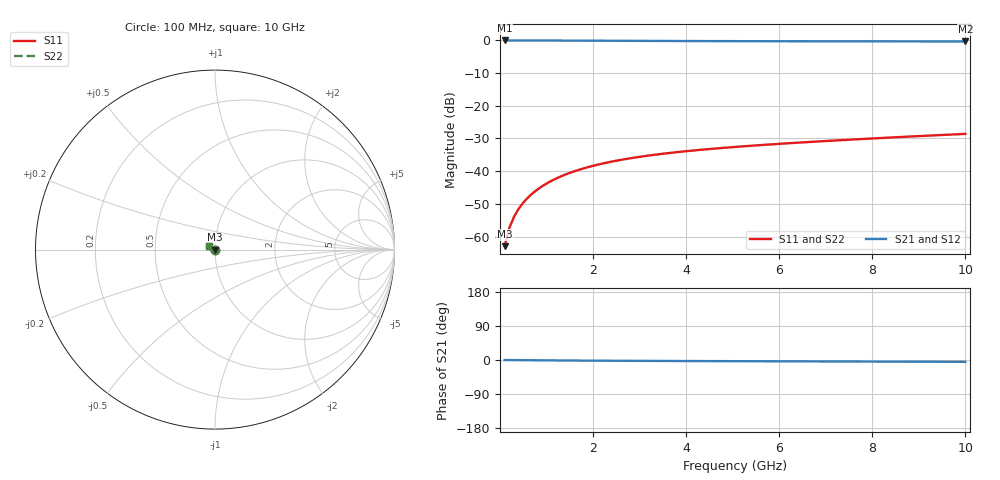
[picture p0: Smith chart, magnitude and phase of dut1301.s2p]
! Touchstone file exported from HFSS 2024.1.0
!  File:  C:/UserFiles/LocalFiles/RDL_TSV_Batchsim/temp_TSV1_1301_1780372500.aedt
!  Generated:  12:00:00 PM Jun  2, 2026
!  Design:  TSV1
!  Project:  temp_TSV1_1301_1780372500
!  Setup:  Setup1
!  Solution:  Sweep
! Variables:
!  dtsv = 7um
!  hbump = 3um
!  htsv = 69.81um
!  lrdl = 252.1521522um
!  p = 40
!  p1 = 55.15um
!  t = 500um
!  trdl = 3um
!  wrdl = 24.89489489um
# GHz S MA R 50.000000
! Terminal data exported
! Port[1] = TSV22_T1
! Port[2] = TSV22_T2
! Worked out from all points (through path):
!   100 points, 100 MHz to 10 GHz, reference 50 ohm
!   highest |S21| = 0.00 dB at 100 MHz (marker M1); lowest = -0.3 dB at 10 GHz (marker M2)
!   lowest |S11| = -62.9 dB at 100 MHz (marker M3), VSWR 1.00, Z = 50 - j0.067 ohm
!   |S11| at or under -10 dB: start of sweep to end of sweep
!   |S22| runs from -62.9 to -28.6 dB; largest |S21 - S12| = 6e-15
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0.1  0.0007125 -70.2  0.9997 -0.1  0.9997 -0.1  0.0007125 -70.2
! Gamma 0 0 0 0
! Port Impedance 50 0 50 0
0.2  0.001346 -83.2  0.9996 -0.2  0.9996 -0.2  0.001346 -83.2
0.3  0.001994 -89.4  0.9995 -0.3  0.9995 -0.3  0.001994 -89.4
0.4  0.002645 -93.6  0.9993 -0.4  0.9993 -0.4  0.002645 -93.6
0.5  0.003294 -97.1  0.999 -0.5  0.999 -0.5  0.003294 -97.1
0.6  0.00394 -100.2  0.9987 -0.6  0.9987 -0.6  0.00394 -100.2
0.7  0.004581 -103.0  0.9983 -0.7  0.9983 -0.7  0.004581 -103.0
0.8  0.005216 -105.7  0.998 -0.8  0.998 -0.8  0.005216 -105.7
0.9  0.005844 -108.2  0.9975 -0.9  0.9975 -0.9  0.005844 -108.2
1.1  0.007074 -113.1  0.9965 -1.0  0.9965 -1.0  0.007074 -113.1
1.4  0.008846 -119.9  0.9949 -1.3  0.9949 -1.3  0.008846 -119.9
1.6  0.009971 -124.2  0.9937 -1.5  0.9937 -1.5  0.009971 -124.2
1.8  0.01105 -128.3  0.9924 -1.6  0.9924 -1.6  0.01105 -128.3
2.1  0.01258 -134.2  0.9905 -1.8  0.9905 -1.8  0.01258 -134.2
2.5  0.01446 -141.6  0.9879 -2.0  0.9879 -2.0  0.01446 -141.6
2.9  0.01617 -148.4  0.9853 -2.3  0.9853 -2.3  0.01617 -148.4
3.4  0.01811 -156.2  0.9824 -2.5  0.9824 -2.5  0.01811 -156.2
4.2  0.02086 -167.2  0.9784 -2.8  0.9784 -2.8  0.02086 -167.2
5.1  0.02362 -177.7  0.9748 -3.2  0.9748 -3.2  0.02362 -177.7
6.7  0.02811 167.2  0.9703 -3.7  0.9703 -3.7  0.02811 167.2
8.4  0.03275 155.0  0.9671 -4.3  0.9671 -4.3  0.03275 155.0
10  0.0372 146.0  0.965 -4.8  0.965 -4.8  0.0372 146.0
